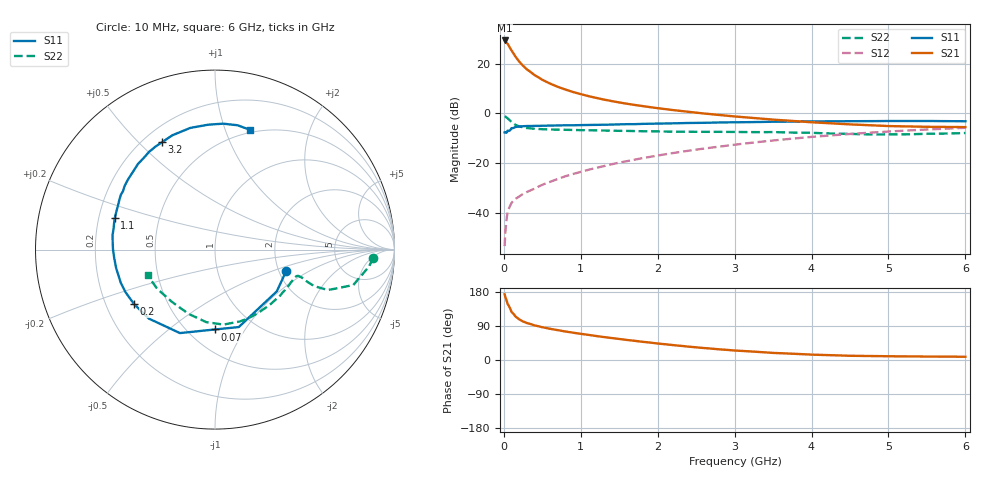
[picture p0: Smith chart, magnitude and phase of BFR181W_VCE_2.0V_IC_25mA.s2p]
! Infineon Technologies  Discrete & RF Semiconductors
! BFR181W
! VCE =  2.0 V,  IC =  25 mA
! Common Emitter S-Parameters:  Jan 2017
# GHz  S  MA  R  50
!  f  S11  S21  S12  S22
! GHz  MAG  ANG  MAG  ANG  MAG  ANG  MAG  ANG
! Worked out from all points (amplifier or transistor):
!   77 points, 10 MHz to 6 GHz, reference 50 ohm
!   highest |S21| = 29.4 dB at 10 MHz (marker M1)
!   |S21| within 3 dB of that: start of sweep to 79.5 MHz
!   unconditionally stable (mu >= 1): start of sweep to 16.31 MHz; 243.7 MHz to 3.417 GHz; 4.084 GHz to end of sweep
!   at 130 MHz: K = 0.70, MSG = 29.5 dB, |S12| = -35.1 dB
!   at 2.2 GHz: K = 1.18, MAG = 6.1 dB, |S12| = -16.0 dB
!   at 6 GHz: K = 1.11, MAG = -1.9 dB, |S12| = -5.8 dB
!   S11 on the Smith chart (normalised r, x): 10 MHz: 2.20, -0.62; 70 MHz: 0.67, -0.74; 200 MHz: 0.32, -0.28; 1.1 GHz: 0.27, +0.14; 3.2 GHz: 0.27, +0.59; 6 GHz: 0.47, +1.22
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0.01  0.4148 -16.4  29.63 173.6  0.0021 77.6  0.8821 -3.0
0.02  0.4156 -34.1  28.97 165.9  0.0041 80.4  0.8637 -6.2
0.05  0.4513 -72.9  25.23 147.6  0.0104 65.8  0.7954 -14.4
0.07  0.4448 -89.8  22.26 140.8  0.0125 61.2  0.7436 -16.3
0.1  0.5045 -112.8  18.62 126.8  0.0157 56.7  0.6678 -19.7
0.15  0.5325 -133.8  14.07 115.1  0.0189 54.0  0.59 -20.2
0.2  0.5437 -146.1  11.11 107.2  0.0211 54.5  0.5472 -19.3
0.25  0.5523 -154.7  9.144 101.7  0.0239 55.3  0.524 -18.5
0.3  0.5567 -160.8  7.73 97.5  0.026 57.3  0.5072 -17.8
0.4  0.5604 -169.5  5.914 91.2  0.0304 62.6  0.4897 -17.5
0.5  0.5638 -175.6  4.766 86.5  0.0363 64.8  0.4805 -17.8
0.6  0.5685 179.6  4.001 82.4  0.0416 68.1  0.4752 -18.4
0.7  0.5717 175.8  3.444 78.8  0.0476 71.2  0.4702 -19.4
0.9  0.5768 168.5  2.701 72.1  0.0601 73.8  0.4639 -22.3
1.1  0.5851 162.7  2.233 66.3  0.073 75.7  0.4578 -25.5
1.5  0.6012 152.3  1.664 55.5  0.1018 77.3  0.4454 -33.2
2.1  0.6266 138.3  1.221 41.5  0.15 76.2  0.4309 -47.2
3.1  0.6647 118.1  0.844 23.9  0.2438 69.1  0.4213 -73.5
3.2  0.6673 116.2  0.82 22.7  0.2539 68.1  0.4199 -76.0
4.1  0.6917 99.7  0.65 13.6  0.3452 58.3  0.4008 -99.8
5.1  0.7026 85.0  0.552 9.7  0.4396 45.6  0.3772 -132.9
6  0.6953 73.8  0.529 8.6  0.5131 34.3  0.4024 -159.1
